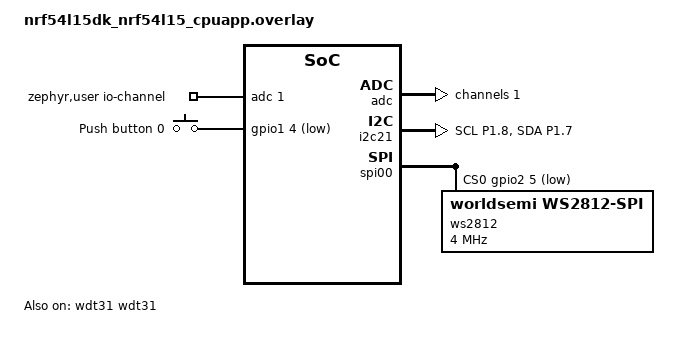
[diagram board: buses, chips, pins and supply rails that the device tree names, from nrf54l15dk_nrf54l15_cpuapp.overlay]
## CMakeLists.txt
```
# SPDX-License-Identifier: Apache-2.0

cmake_minimum_required(VERSION 3.20.0)
find_package(Zephyr REQUIRED HINTS $ENV{ZEPHYR_BASE})
project(beacon_1)

target_sources(app PRIVATE src/main.c)
target_sources(app PRIVATE src/ble.h)
# target_sources(app PRIVATE src/sys_off.h)
target_sources(app PRIVATE src/ws2812.h)
if(CONFIG_APP_USE_RETAINED_MEM)
  target_sources(app PRIVATE src/retained.c)
endif()
```

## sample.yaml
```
sample:
  name: Bluetooth Beacon
tests:
  sample.bluetooth.beacon:
    harness: bluetooth
    platform_allow:
      - qemu_cortex_m3
      - qemu_x86
      - nrf52dk_nrf52832
    tags: bluetooth
    integration_platforms:
      - qemu_cortex_m3

  sample.bluetooth.beacon-coex:
    extra_args: CONF_FILE="prj-coex.conf"
    harness: bluetooth
    platform_allow: nrf52840dk_nrf52840
    tags: bluetooth
sample:
  name: Low Power State Sample for nRF5x
common:
  tags:
    - ci_samples_zephyr_boards_nordic_system_off
  timeout: 20
tests:
  nrf.extended.sample.boards.nrf.system_off:
    integration_platforms:
      - nrf54lv10dk/nrf54lv10a/cpuapp
    platform_allow:
      - nrf54lv10dk/nrf54lv10a/cpuapp
      - nrf54lv10dk@0.0.0/nrf54lv10a/cpuapp
      - nrf54lv10dk@0.2.0/nrf54lv10a/cpuapp
    harness: console
    harness_config:
      type: multi_line
      ordered: true
      regex:
        - "system off demo"
        - "Retained data not supported"
        - "Entering system off; press sw0 to restart"
  nrf.extended.sample.boards.nrf.system_off.retained_mem:
    integration_platforms:
      - nrf54lv10dk/nrf54lv10a/cpuapp
    platform_allow:
      - nrf54lv10dk/nrf54lv10a/cpuapp
      - nrf54lv10dk@0.0.0/nrf54lv10a/cpuapp
      - nrf54lv10dk@0.2.0/nrf54lv10a/cpuapp
    extra_configs:
      - CONFIG_APP_USE_RETAINED_MEM=y
    harness: console
    harness_config:
      type: multi_line
      ordered: true
      regex:
        - "system off demo"
        - "Retained data: valid"
        - "Boot count: 1"
        - "Off count: 0"
        - "Active Ticks:"
        - "Entering system off; press sw0 to restart"
  nrf.extended.sample.boards.nrf.system_off.grtc_wakeup:
    platform_allow:
      - nrf54lv10dk/nrf54lv10a/cpuapp
      - nrf54lv10dk@0.0.0/nrf54lv10a/cpuapp
      - nrf54lv10dk@0.2.0/nrf54lv10a/cpuapp
    extra_configs:
      - CONFIG_GRTC_WAKEUP_ENABLE=y
      - CONFIG_GPIO_WAKEUP_ENABLE=n
    harness: console
    harness_config:
      type: multi_line
      ordered: true
      regex:
        - "system off demo"
        - "Retained data not supported"
        - "Entering system off; wait 2 seconds to restart"
        - "system off demo"
        - "Retained data not supported"
        - "Entering system off; wait 2 seconds to restart"
        - "system off demo"
        - "Wakeup from System OFF by GRTC."
        - "Retained data not supported"
        - "Entering system off; wait 2 seconds to restart"
  nrf.extended.sample.boards.nrf.system_off.retained_mem.grtc_wakeup:
    platform_allow:
      - nrf54lv10dk/nrf54lv10a/cpuapp
      - nrf54lv10dk@0.0.0/nrf54lv10a/cpuapp
      - nrf54lv10dk@0.2.0/nrf54lv10a/cpuapp
    extra_configs:
      - CONFIG_APP_USE_RETAINED_MEM=y
      - CONFIG_GRTC_WAKEUP_ENABLE=y
      - CONFIG_GPIO_WAKEUP_ENABLE=n
    harness: console
    harness_config:
      type: multi_line
      ordered: true
      regex:
        - "system off demo"
        - "Retained data: valid"
        - "Boot count: 1"
        - "Off count: 0"
        - "Active Ticks:"
        - "Entering system off; wait 2 seconds to restart"
        - "system off demo"
        - "Retained data: valid"
        - "Boot count: 2"
        - "Off count: 1"
        - "Active Ticks:"
        - "Entering system off; wait 2 seconds to restart"
        - "Wakeup from System OFF by GRTC."
```

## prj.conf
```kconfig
CONFIG_BT=y
CONFIG_BT_PERIPHERAL=y
CONFIG_BT_DEVICE_NAME="Freezmee_v2"
CONFIG_WATCHDOG=y
# Needed to request larger ATT MTU and data length
CONFIG_BT_GATT_CLIENT=y
CONFIG_BT_USER_DATA_LEN_UPDATE=y
CONFIG_BT_CTLR_DATA_LENGTH_MAX=251
CONFIG_BT_BUF_ACL_RX_SIZE=251
CONFIG_BT_BUF_ACL_TX_SIZE=251
CONFIG_BT_L2CAP_TX_MTU=247

# (Optional but recommended) allow PHY updates if you want 2M PHY later
# CONFIG_BT_USER_PHY_UPDATE=y
# CONFIG_BT_CTLR_PHY_2M=y

# Stack sizes – typical for BLE apps using logging
CONFIG_SYSTEM_WORKQUEUE_STACK_SIZE=8192
CONFIG_MAIN_STACK_SIZE=8192
CONFIG_BT_RX_STACK_SIZE=2048

# Logging/printk (enable if you use printk/LOG_INF, etc.)
CONFIG_LOG=y
CONFIG_SERIAL=y
CONFIG_PRINTK=y

# Logging/printk (enable if you use printk/LOG_INF, etc.)
CONFIG_LOG=y
CONFIG_SERIAL=y
CONFIG_PRINTK=y
CONFIG_ADC=y
# I2C + sensors for your MAX30102 / fuel gauge
CONFIG_I2C=y
CONFIG_SENSOR=y

# Fuel gauge (if you use Nordic’s fuel gauge library)
CONFIG_NRF_FUEL_GAUGE=y
CONFIG_NRF_FUEL_GAUGE_VARIANT_SECONDARY_CELL=y
CONFIG_NCS_SAMPLE_MCUMGR_BT_OTA_DFU=y

CONFIG_GPIO=y
CONFIG_HWINFO=y
CONFIG_CRC=y
CONFIG_POWEROFF=y
# Allow more concurrent ACL/GATT TX buffers
CONFIG_BT_DATA_LEN_UPDATE=y
CONFIG_BT_USER_PHY_UPDATE=y
CONFIG_BT_PHY_UPDATE=y
CONFIG_BT_AUTO_PHY_UPDATE=n
CONFIG_BT_USER_PHY_UPDATE=y
CONFIG_BT_BUF_CMD_TX_COUNT=10
CONFIG_BT_CTLR_PHY_CODED=y
CONFIG_MCUBOOT_IMGTOOL_SIGN_VERSION="3.1.1"
CONFIG_NCS_SAMPLE_MCUMGR_BT_OTA_DFU=y
CONFIG_LED_STRIP=y
CONFIG_SPI=y

CONFIG_FPU=y
CONFIG_NEWLIB_LIBC=y
CONFIG_NEWLIB_LIBC_FLOAT_PRINTF=y
# NFC 

CONFIG_NFC_T2T_NRFXLIB=y

CONFIG_NFC_NDEF=y
CONFIG_NFC_NDEF_MSG=y
CONFIG_NFC_NDEF_RECORD=y
CONFIG_NFC_NDEF_TEXT_RECORD=y
CONFIG_NFC_NDEF_URI_MSG=y
CONFIG_NFC_NDEF_URI_REC=y
```

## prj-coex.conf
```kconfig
CONFIG_BT=y
CONFIG_LOG=y
# CONFIG_BT_DEVICE_NAME="Test beacon"

CONFIG_BT_LL_SW_SPLIT=y
CONFIG_BT_CTLR_COEX_TICKER=y
```

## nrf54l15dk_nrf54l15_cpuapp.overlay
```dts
#include <dt-bindings/led/led.h>

/ {
	zephyr,user {
		io-channels = <&adc 1>;
	};

	aliases {
		// i2c0 = &i2c20;
		i2c1 = &i2c21;
		i2c2 = &i2c22;
		adc0 = &adc;
	};
	buttons{

		button0: button_0 {
			gpios = <&gpio1 4 (GPIO_PULL_DOWN | GPIO_ACTIVE_LOW)>;
			label = "Push button 0";
			zephyr,code = <INPUT_KEY_0>;
		};
	};

};
// &gpio0 {
	//     sense-edge-mask = <(1 << 4)>;
// };

&adc {


	#address-cells = <1>;
	#size-cells = <0>;
	status = "okay";

	channel@1 {
		reg = <1>;
		zephyr,gain = "ADC_GAIN_1_4";
		zephyr,reference = "ADC_REF_INTERNAL";
		zephyr,acquisition-time = <ADC_ACQ_TIME_DEFAULT>;
		zephyr,input-positive = <NRF_SAADC_AIN5>; /* P1.01 */
		zephyr,resolution = <12>;
		zephyr,oversampling = <8>;
	};
};

// &nfct {
	//     status = "okay";
	//     memory-regions = <&cpuapp_dma_region>;
// };
&uart20 {
	status = "disabled";
};
&wdt31 {
	status = "okay";
	label = "wdt31";
};

&i2c21 {
	status = "okay";
	pinctrl-0 = <&i2c21_default>;
	pinctrl-1 = <&i2c21_sleep>;
	pinctrl-names = "default", "sleep";
};
&spi00 {
	status = "okay";
	cs-gpios = <&gpio2 5 GPIO_ACTIVE_LOW>;
	pinctrl-0 = <&spi00_default>;
	pinctrl-1 = <&spi00_sleep>;
	pinctrl-names = "default", "sleep";
	label = "spi00";
	ws2812: ws2812@0 {
		compatible = "worldsemi,ws2812-spi";
		reg = <0>;
		spi-max-frequency = <4000000>;
		chain-length = <8>;
		color-mapping = <LED_COLOR_ID_GREEN>,
		                <LED_COLOR_ID_RED>,
		                <LED_COLOR_ID_BLUE>;
		spi-one-frame = <0xE>;
		spi-zero-frame = <0x8>;
		status = "okay";
	};
	// mx25r64: mx25r6435f@0 {
		//     compatible = "jedec,spi-nor";
		//     status = "okay";
		//     reg = <0>;
		//     spi-max-frequency = <8000000>;
		//     jedec-id = [ c2 28 17  ];
		//     sfdp-bfp = [ e5 20 f1 ff ff ff ff 03 44 eb 08 6b 08 3b 04 bb ee ff ff ff ff ff 00 ff ff ff 00 ff 0c 20 0f 52 10 d8 00 ff 23 72 f5 00 82 ed 04 cc 44 83 48 44 30 b0 30 b0 f7 c4 d5 5c 00 be 29 ff f0 d0 ff ff  ];
		//     size = <67108864>;
		//     has-dpd;
		//     t-enter-dpd = <10000>;
		//     t-exit-dpd = <35000>;
	// };
};

&pinctrl {
	// THIS IS BEING COMMENTED OUT BY ROHAN to check BLE Receive printing code on DK
	// /omit-if-no-ref/ uart20_default: uart20_default {
		//     group1 {
			//         psels = <NRF_PSEL(UART_TX, 2, 5)>,
							   //                 <NRF_PSEL(UART_RTS, 1, 6)>;
		//     };

		//     group2 {
			//         psels = <NRF_PSEL(UART_RX, 1, 8)>,
							   //                 <NRF_PSEL(UART_CTS, 1, 7)>;
			//         bias-pull-up;
		//     };
	// };

	i2c21_default: i2c21_default {
		group1 {
			psels = <NRF_PSEL(TWIM_SCL, 1, 8)>, <NRF_PSEL(TWIM_SDA, 1, 7)>;
		};
	};

	i2c21_sleep: i2c21_sleep {
		group1 {
			psels = <NRF_PSEL(TWIM_SCL, 1, 8)>, <NRF_PSEL(TWIM_SDA, 1, 7)>;
		};
	};
};




// &uicr {
	//     nfct-pins-as-gpios;
// };
```

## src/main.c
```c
#include <zephyr/kernel.h>
#include <zephyr/types.h>
#include <zephyr/device.h>
#include <stddef.h>
#include <zephyr/bluetooth/bluetooth.h>
#include <zephyr/bluetooth/hci.h>
#include <hal/nrf_gpio.h>
#include <zephyr/logging/log.h>
#include <zephyr/drivers/sensor.h>
#include <zephyr/drivers/i2c.h>
#include <zephyr/drivers/gpio.h>
#include <zephyr/sys/printk.h>
// adc

#include <zephyr/drivers/adc.h>
#include <zephyr/sys/util.h>
#include <hal/nrf_power.h>
#include <zephyr/drivers/hwinfo.h>
#include <zephyr/pm/device.h>
#include <zephyr/sys/poweroff.h>
#include "ble.h"
#include "ws2812.h"
/* NFC */
#include <stdio.h>
#include <nfc_t2t_lib.h>
#include <nfc/ndef/msg.h>
#include <nfc/ndef/text_rec.h>
#include <nfc/ndef/uri_msg.h>
#include <nfc/ndef/record.h>
#include <zephyr/devicetree.h>
#include <zephyr/drivers/watchdog.h>
// #include "sys_off.h"
#if !DT_NODE_EXISTS(DT_PATH(zephyr_user)) || \
	!DT_NODE_HAS_PROP(DT_PATH(zephyr_user), io_channels)
// #error "No suitable devicetree overlay specified"
#endif
#define DT_SPEC_AND_COMMA(node_id, prop, idx) \
	ADC_DT_SPEC_GET_BY_IDX(node_id, idx),

static const struct adc_dt_spec adc_channels[] = {DT_FOREACH_PROP_ELEM(DT_PATH(zephyr_user), io_channels, DT_SPEC_AND_COMMA)};

// #define BNO055_INT_PIN 11
#define INT_EN 0x10
#define INT_STATUS 0x37
#define INT_MASK 0x0F
#define OPAR_MODE_REG 0x3d
#define NDOF 0x0c
#define ACC_INT_Settings 0x12
#define PAGE_ID 0x07
#define BNO055_INT_STA_ADDR 0X37

#define SLEEP_TIME_MS 1000
#define ACC_NM_INT (1 << 1)

// #define ACC_AM_MSK (1 << 0)
#define ACC_NM_MSK (1 << 1)
#define ACC_INT_SETTINGS 0x12
#define ACC_NM_THRES 0x03
#define ACC_NM_SET (1 << 0) | (30 << 1)
// 0x15
#define ACCONLY 0x01

// int wdt_channel_id;

// command
#define SYS_TRIGGER 0x3f
#define ACC_AM_THRES 0x12
#define POWER_MODE_ADDR 0x3E
// #define ACC_AM_DUR
#define RST_INT 0x40
#define ACC_AM_MSK 0x40
#define ACC_AM_INT 0x40
#define ACC_HIGH_G 0x20
#define BNO055_i2C_ADDR 0x29
// #define AM_NM_X_AXIS 0x04
#define SW0_NODE DT_ALIAS(sw0)
#define MY_STACK_SIZE 1024
#define MY_PRIORITY 5

/* bno055 Address */
#define BNO055_ACCEL_DATA_ADDR 0x08
#define BNO055_MAG_DATA_ADDR 0x0E
#define BNO055_GYRO_DATA_ADDR 0x14
#define BNO055_EULER_DATA_ADDR 0x1A
#define BNO055_QUATERNION_DATA_ADDR 0x20
#define BNO055_LIA_DATA_ADDR 0x28
#define BNO055_GRAVITY_DATA_ADDR 0x2E
/* battery */
int32_t bat_voltage = 0;
uint8_t soc = 0;

const struct device *wdt = DEVICE_DT_GET(DT_NODELABEL(wdt31));
K_THREAD_STACK_DEFINE(my_stack_area, MY_STACK_SIZE);
struct k_thread my_thread_data;
uint8_t r = 0, g = 50, b = 0;

uint8_t buf;
uint8_t count = 0;
int8_t in_Hand_Threshold = 3;
/* NFC */
#define MAX_REC_COUNT 1
#define NDEF_MSG_BUF_SIZE 256

static void nfc_callback(void *context, nfc_t2t_event_t event, const uint8_t *data, size_t data_len)
{
	switch (event)
	{
	case NFC_T2T_EVENT_FIELD_ON:
		printf("NFC tag Field event\n");
		break;
	case NFC_T2T_EVENT_FIELD_OFF:
		printf("NFC tag write event\n");
		break;
	default:
		printf("Unknown NFC event\n");
		break;
	}
}
bool nfc_flag = 1;
void nfc_write(void *p1, void *p2, void *p3)
{
	ARG_UNUSED(p1);
	ARG_UNUSED(p2);
	ARG_UNUSED(p3);

	static const uint8_t uri[] = "mlworkx.com";
	uint8_t ndef_mdg_buf[128];
	size_t len = sizeof(ndef_mdg_buf);

	nfc_ndef_uri_msg_encode(
		NFC_URI_HTTP_WWW,
		uri,
		sizeof(uri) - 1,
		ndef_mdg_buf,
		&len);

	nfc_t2t_setup(nfc_callback, NULL);
	nfc_t2t_payload_set(ndef_mdg_buf, len);
	nfc_t2t_emulation_start();

	while (nfc_flag == 1)
	{
		k_sleep(K_MSEC(100));
	}

	nfc_t2t_emulation_stop();
	nfc_t2t_done();
}

static const struct gpio_dt_spec Interrupt = GPIO_DT_SPEC_GET_OR(SW0_NODE, gpios, {0});
static const struct device *i2c = DEVICE_DT_GET(DT_ALIAS(i2c1));
float ax, ay, az, mx, my, gx, gy, gz, mz, qw, qx, qy, qz, lax, lay, laz, heading, roll, pitch, gvx, gvy, gvz;
int16_t axis_diff_xp = 0;
int16_t axis_diff_xa = 0;
int16_t axis_diff_yp = 0;
int16_t axis_diff_ya = 0;
int16_t axis_diff_zp = 0;
int16_t axis_diff_za = 0;
bool bno055_Eflag = 0;

void readVector(uint8_t addr, float *x, float *y, float *z, float scale)
{
	uint8_t data[6];
	int ret = i2c_burst_read(i2c, BNO055_i2C_ADDR, addr, data, sizeof(data));
	if (ret < 0)
	{
		printf("I2C read error: %d\n", ret);
		return;
	}
	// Combine the two bytes for each axis and apply scale
	// *x = ((int16_t)data[0] | (((int16_t)data[1]) << 8)) / scale;
	// *y = ((int16_t)data[2] | (((int16_t)data[3]) << 8)) / scale;
	// *z = ((int16_t)data[4] | (((int16_t)data[5]) << 8)) / scale;
	int16_t raw = (int16_t)((data[1] << 8) | data[0]);
	*x = (float)raw / scale;
	raw = (int16_t)((data[3] << 8) | data[2]);
	*y = (float)raw / scale;
	raw = (int16_t)((data[5] << 8) | data[4]);
	*z = (float)raw / scale;
}
void readQuaternion(float *x, float *y, float *z, float *w)
{
	uint8_t data[8];
	int ret = i2c_burst_read(i2c, BNO055_i2C_ADDR, 0x20, data, sizeof(data));
	if (ret < 0)
	{
		printf("I2C read error: %d\n", ret);
		return;
	}
	// Combine the two bytes for each component and apply scale
	int16_t raw = (int16_t)((data[1] << 8) | data[0]);
	*w = (float)raw / 16384.0f;
	raw = (int16_t)((data[3] << 8) | data[2]);
	*x = (float)raw / 16384.0f;
	raw = (int16_t)((data[5] << 8) | data[4]);
	*y = (float)raw / 16384.0f;
	raw = (int16_t)((data[7] << 8) | data[6]);
	*z = (float)raw / 16384.0f;
}

void read_bno055(void)
{
	readVector(BNO055_ACCEL_DATA_ADDR, &ax, &ay, &az, 100.0f);			// Acceleration in m/s²
	readVector(BNO055_GYRO_DATA_ADDR, &gx, &gy, &gz, 16.0f);			// Gyroscope in °/s
	readVector(BNO055_MAG_DATA_ADDR, &mx, &my, &mz, 16.0f);				// Magnetometer in µT
	readVector(BNO055_EULER_DATA_ADDR, &heading, &roll, &pitch, 16.0f); // Euler angles in °
	readQuaternion(&qx, &qy, &qz, &qw);									// Quaternion
	readVector(BNO055_LIA_DATA_ADDR, &lax, &lay, &laz, 100.0f);			// Linear acceleration in m/s²
	// readVector(BNO055_GRAVITY_DATA_ADDR, &gx2, &gy2, &gz2, 100.0f); // Gravity vector in m/s²
	// Quaternion

	// uint8_t buf[38];
	// k_msleep(1000);
	// if (i2c_burst_read(i2c, BNO055_i2C_ADDR, 0x08, buf, 38) < 0)
	// {
	// 	printk("Read error!\n");
	// 	bno055_Eflag = 1;
	// 	led_status = 7;
	// 	k_msleep(2000);
	// }
	// else
	// {
	// 	bno055_Eflag = 0;
	// }
	// ax = (buf[1] << 8) | buf[0];
	// ay = (buf[3] << 8) | buf[2];
	// az = (buf[5] << 8) | buf[4];
	// mx = (buf[7] << 8) | buf[6];
	// my = (buf[9] << 8) | buf[8];
	// mz = (buf[11] << 8) | buf[10];
	// gx = (buf[13] << 8) | buf[12];
	// gy = (buf[15] << 8) | buf[14];
	// gz = (buf[17] << 8) | buf[16];
	// heading = (buf[19] << 8) | buf[18];
	// roll = (buf[21] << 8) | buf[20];
	// pitch = (buf[23] << 8) | buf[22];
	// qw = (buf[25] << 8) | buf[24];
	// qx = (buf[27] << 8) | buf[26];
	// qy = (buf[29] << 8) | buf[28];
	// qz = (buf[31] << 8) | buf[30];
	// lax = (buf[33] << 8) | buf[32];
	// lay = (buf[35] << 8) | buf[34];
	// laz = (buf[37] << 8) | buf[36];
	// // gvx = (buf[39] << 8) | buf[38];
	// // gvy = (buf[41] << 8) | buf[40];
	// // gvz = (buf[43] << 8) | buf[42];

	// ax = ax / 100.0f;
	// ay = ay / 100.0f;
	// az = az / 100.0f;
	// mx = mx / 16.0f;
	// my = my / 16.0f;
	// mz = mz / 16.0f;
	// gx = gx / 16.0f;
	// gy = gy / 16.0f;
	// gz = gz / 16.0f;
	// heading = heading / 16.0f;
	// roll = roll / 16.0f;
	// pitch = pitch / 16.0f;
	// qw = qw / 16384.0f;
	// qx = qx / 16384.0f;
	// qy = qy / 16384.0f;
	// qz = qz / 16384.0f;
	// lax = lax / 100.0f;
	// lay = lay / 100.0f;
	// laz = laz / 100.0f;
	// gvx = gvx/100.0f;
	// gvy = gvx/100.0f;
	// gvz = gvx/100.0f;

	axis_diff_xa = axis_diff_xp - ax;
	axis_diff_xp = ax;
	axis_diff_ya = axis_diff_yp - ay;
	axis_diff_yp = ay;
	axis_diff_za = axis_diff_zp - az;
	axis_diff_zp = az;
}
void send_all_bno055(void)
{
	read_bno055();
	// Devided voltage on 4.2v is 2.166
	// Devided voltage on 3.2v is 1.604
	// Devided voltage at 1v is 0.5012919896640827
	memset(data, 0, sizeof(data));
	data[0] = 0xaa; // header
	data[1] = 0x01; // header all data
	data[2] = 0x00; // reserved
	data[3] = 0x01; // version
	data[4] = soc;
	data[6] = bat_voltage / 100;
	data[8] = 0x00;
	memcpy(&data[9], &ax, sizeof(float)); // accel float
	memcpy(&data[13], &ay, sizeof(float));
	memcpy(&data[17], &az, sizeof(float));
	memcpy(&data[21], &gx, sizeof(float)); // gyro float
	memcpy(&data[25], &gy, sizeof(float));
	memcpy(&data[29], &gz, sizeof(float));
	memcpy(&data[33], &qw, sizeof(float)); // Quaterion code
	memcpy(&data[37], &qx, sizeof(float));
	memcpy(&data[41], &qy, sizeof(float));
	memcpy(&data[45], &qz, sizeof(float));
	memcpy(&data[49], &heading, sizeof(float)); // Eular float
	memcpy(&data[53], &roll, sizeof(float));
	memcpy(&data[57], &pitch, sizeof(float));
	// memcpy(&data[61], &gvx, sizeof(float));
	// memcpy(&data[65], &gvy, sizeof(float));
	// memcpy(&data[69], &gvz, sizeof(float));
	memcpy(&data[61], &led_status, sizeof(int8_t)); // status code
	data[62] = 0x55;
	if (ble_connected)
	{
		notify_data();
	}
}

uint8_t blink = 1;
bool led_flag = 0;

void ws2812_led()
{
	/* The format of payload is:
	BYTE 0: HEADER
	BYTE 1: RED INTENSITY
	BYTE 2: GREEN INTENSITY
	BYTE 3: BLUE INTENSITY
	BYTE 4: BLINK
	BYTE 5: FOOTER
	*/
	// Make sure that the buffer received is of 6 bytes
	// and has the desired header and footer
	while (1)
	{
		if (request_recieved)
		{
			// reset flag
			request_recieved = false;

			// check validity of request
			if ((recieved_payload_length == 6) && (buf_ptr[recieved_payload_length - 1] == 0x55) && (buf_ptr[0] == 0xAA))
			{
				printk("VALID PAYLOAD");

				// Update R G B Blink values
				r = buf_ptr[1];
				g = buf_ptr[2];
				b = buf_ptr[3];
				blink = buf_ptr[4];

				// set led status as 3
				led_status = 3;
			}
			else
			{
				printk("INVALID PAYLOAD");
			}
		}
		if (led_flag)
		{
			led_status = 3;
		}
		printk("ws2812_led status: %d\n", led_status);
		if (led_status == 0)
		{
			ws2812_set_colors(50, 50, 50);
		}
		else if (led_status == 1)
		{
			ws2812_set_colors(0, 0, 50);
		}
		else if (led_status == 2)
		{
			ws2812_set_colors(0, 50, 0);
			// led_status = 3;
		}
		else if (led_status == 3)
		{
			ws2812_set_colors(r, g, b);
			led_flag = 1;
		}
		else if (led_status == 4)
		{
			ws2812_set_colors(50, 0, 0);
		}
		else if (led_status == 5)
		{
			ws2812_set_colors(0, 0, 0);
		}
		else if (led_status == 6)
		{
			ws2812_set_colors(0xff, 0, 0xff);
		}
		else if (led_status == 7)
		{
			ws2812_set_colors(99, 78, 00);
		}
		if (blink)
		{
			k_msleep(500);
			ws2812_set_colors(0, 0, 0);
			k_msleep(500);
		}
		k_msleep(100);
	}
}

#define PDN_PIN NRF_GPIO_PIN_MAP(1, 13) // P1.13
#define RX_PIN NRF_GPIO_PIN_MAP(1, 9)	// P1.9
#define TX_PIN NRF_GPIO_PIN_MAP(1, 6)	// P1.6
#define ANT_PIN NRF_GPIO_PIN_MAP(1, 10) // P1.10
static void fem_Init_54dk_cust()
{
	nrf_gpio_cfg_output(PDN_PIN); // PDN
	// nrf_gpio_cfg_output(17); // MODE/CSD
	nrf_gpio_cfg_output(TX_PIN);  // TX
	nrf_gpio_cfg_output(RX_PIN);  // RX
	nrf_gpio_cfg_output(ANT_PIN); // Clear=20 Set=10
	nrf_gpio_pin_set(23);		  // PDN
	nrf_gpio_pin_set(17);		  // MODE/CSD
};
static void fem_Tx_54_20()
{
	printf("Rx is disable\n");
	nrf_gpio_pin_clear(RX_PIN); // RX
	nrf_gpio_pin_set(ANT_PIN);	// Clear=20 Set=10
	nrf_gpio_pin_set(TX_PIN);	// TX
	printf("Tx is Enabled\n");
};
static void fem_Tx_54_10()
{
	printf("Rx is disable\n");
	nrf_gpio_pin_clear(RX_PIN);	 // RX
	nrf_gpio_pin_clear(ANT_PIN); // Clear=20 Set=10
	nrf_gpio_pin_set(TX_PIN);	 // TX
	printf("Tx is Enabled\n");
};

int bat_pwr_init()
{
	int err;

	/* Configure channels individually prior to sampling. */
	for (size_t i = 0U; i < ARRAY_SIZE(adc_channels); i++)
	{
		if (!adc_is_ready_dt(&adc_channels[i]))
		{
			printk("ADC controller device %s not ready\n", adc_channels[i].dev->name);
			return 0;
		}

		err = adc_channel_setup_dt(&adc_channels[i]);
		if (err < 0)
		{
			printk("Could not setup channel #%d (%d)\n", i, err);
			return 0;
		}
	}
	return 0;
}
void bat_read()
{
	uint8_t err;
	uint16_t adc_buf;
	struct adc_sequence sequence = {
		.buffer = &adc_buf,
		/* buffer size in bytes, not number of samples */
		.buffer_size = sizeof(adc_buf),
	};
	printk("ADC reading[%u]:\n", count++);
	for (size_t i = 0U; i < ARRAY_SIZE(adc_channels); i++)
	{
		int32_t val_mv;

		printk("- %s, channel %d: ",
			   adc_channels[i].dev->name,
			   adc_channels[i].channel_id);
		(void)adc_sequence_init_dt(&adc_channels[i], &sequence);
		err = adc_read(adc_channels[i].dev, &sequence);
		if (err < 0)
		{
			printk("Could not read (%d)\n", err);
			continue;
		}
		/*
		 * If using differential mode, the 16 bit value
		 * in the ADC sample buffer should be a signed 2's
		 * complement value.
		 */
		if (adc_channels[i].channel_cfg.differential)
		{
			val_mv = (int32_t)((int16_t)adc_buf);
		}
		else
		{
			val_mv = (int32_t)adc_buf;
		}
		printk("%" PRId32, val_mv);
		err = adc_raw_to_millivolts_dt(&adc_channels[i],
									   &val_mv);
		/* conversion to mV may not be supported, skip if not */
		if (err < 0)
		{
			printk(" (value in mV not available)\n");
		}
		else
		{
			printk(" = %" PRId32 " mV\n", val_mv);
		}
		if (val_mv > 2166)
		{
			val_mv = 2166;
		}
		else if (val_mv < 1604)
		{
			val_mv = 1604;
		}
		soc = ((val_mv - 1604) * 100 / (2166 - 1604));
		bat_voltage = val_mv;
		printk("\nCharged = %d per", soc);
	}
}

void print_reset_cause(uint32_t reset_cause)
{
	if (reset_cause & RESET_DEBUG)
	{
		printf("Reset by debugger.\n");
	}
	else if (reset_cause & RESET_CLOCK)
	{
		printf("Wakeup from System OFF by GRTC.\n");
	}
	else if (reset_cause & RESET_LOW_POWER_WAKE)
	{
		printf("Wakeup from System OFF by GPIO.\n");
	}
	else
	{
		printf("Other wake up cause 0x%08X.\n", reset_cause);
	}
}

int sys_off()
{

	uint32_t reset_cause;
	hwinfo_get_reset_cause(&reset_cause);
	print_reset_cause(reset_cause);
	hwinfo_clear_reset_cause();
	sys_poweroff();
	return 0;
}

uint8_t read_int_status()
{
	uint8_t int_status;
	int ret = i2c_burst_read(i2c, BNO055_i2C_ADDR, BNO055_INT_STA_ADDR, &int_status, 1);
	if (ret < 0)
	{
		printf("I2C read error: %d\n", ret);
		return ret;
	}
	return int_status;
}

int wdt_channel_id;
void watch_dog_timer_init()
{
	struct wdt_timeout_cfg wdt_config = {
		.flags = WDT_FLAG_RESET_SOC, // Reset SoC on timeout
		.window.min = 0,			 // Minimum time before feeding (usually 0)
		.window.max = 10000,		 // Timeout period in milliseconds
		.callback = NULL,			 // Optional: function to run before reset
	};
	wdt_channel_id = wdt_install_timeout(wdt, &wdt_config);
	// uint8_t options = WDT_OPT_PAUSE_IN_SLEEP;
	wdt_setup(wdt, NULL);
};

void bno055_enter_low_power(void)
{
	/* Low_power */
	i2c_reg_write_byte(i2c, BNO055_i2C_ADDR, OPAR_MODE_REG, 0x00);
	k_msleep(20);

	i2c_reg_write_byte(i2c, BNO055_i2C_ADDR, POWER_MODE_ADDR, 0x01);
	k_msleep(20);
	i2c_reg_write_byte(i2c, BNO055_i2C_ADDR, PAGE_ID, 1);
	k_msleep(20);

	i2c_reg_write_byte(i2c, BNO055_i2C_ADDR, INT_EN, ACC_AM_INT | ACC_NM_INT);
	k_msleep(20);

	i2c_reg_write_byte(i2c, BNO055_i2C_ADDR, INT_MASK, 0x00);
	k_msleep(20);

	i2c_reg_write_byte(i2c, BNO055_i2C_ADDR, ACC_AM_THRES, 0x0E);
	k_msleep(20);

	i2c_reg_write_byte(i2c, BNO055_i2C_ADDR, ACC_INT_SETTINGS, 0b00011110);
	k_msleep(20);

	i2c_reg_write_byte(i2c, BNO055_i2C_ADDR, ACC_NM_THRES, 0x03);
	k_msleep(20);

	i2c_reg_write_byte(i2c, BNO055_i2C_ADDR, ACC_NM_SET, (1 << 0) | (30 << 1));
	k_msleep(20);

	i2c_reg_write_byte(i2c, BNO055_i2C_ADDR, PAGE_ID, 0);
	k_msleep(20);
	i2c_reg_write_byte(i2c, BNO055_i2C_ADDR, OPAR_MODE_REG, ACCONLY);
	k_msleep(20);
	i2c_reg_write_byte(i2c, BNO055_i2C_ADDR, SYS_TRIGGER, 0x40);
}
// #define ACC_AM_INT (1 << 0)

int main(void)
{
	start_time = k_uptime_get();
	int err;
	watch_dog_timer_init();

	ws2812_init();
	k_msleep(100);

	k_thread_create(&my_thread_data, my_stack_area, K_THREAD_STACK_SIZEOF(my_stack_area), ws2812_led, NULL, NULL, NULL, MY_PRIORITY, 0, K_NO_WAIT);
	bat_pwr_init();
	bat_read();

	if (soc < 20)
	{
		// i2c_reg_write_byte(i2c, BNO055_i2C_ADDR, OPAR_MODE_REG, 0x00); // enter CONFIGMODE (verified)
		// k_msleep(20);
		// // // Go to page 1 set of registers
		// i2c_reg_write_byte(i2c, BNO055_i2C_ADDR, PAGE_ID, 1); // (verified)
		// k_msleep(20);
		// i2c_reg_write_byte(i2c, BNO055_i2C_ADDR, INT_EN, ACC_AM_INT); // INT enable (verified)
		// k_msleep(20);
		// i2c_reg_write_byte(i2c, BNO055_i2C_ADDR, ACC_AM_THRES, 0x0e); // Threshold
		// k_msleep(20);
		// i2c_reg_write_byte(i2c, BNO055_i2C_ADDR, INT_MASK, ACC_AM_MSK); // INT_MSK (verified)
		// k_msleep(20);
		// i2c_reg_write_byte(i2c, BNO055_i2C_ADDR, PAGE_ID, 0); // Exiting page_ID (verified)
		// k_msleep(20);
		// i2c_reg_write_byte(i2c, BNO055_i2C_ADDR, OPAR_MODE_REG, NDOF); // NDOF mode (fusion mode) (verified)
		// k_msleep(20);
		// i2c_reg_write_byte(i2c, BNO055_i2C_ADDR, SYS_TRIGGER, 0x40); // Resetting Int pin
		// gpio_pin_configure_dt(&Interrupt, GPIO_INPUT);
		// gpio_pin_interrupt_configure_dt(&Interrupt, GPIO_INT_LEVEL_HIGH);

		uint8_t low_pwr_count = 0;
		while (low_pwr_count < 4)
		{
			led_status = 4;
			low_pwr_count++;
			k_msleep(1000);
		}
		// if (read_int_status())
		// {
		// 	i2c_reg_write_byte(i2c, BNO055_i2C_ADDR, SYS_TRIGGER, 0x40); // Resetting Int pin
		// }
		// else
		// {
		// 	led_status = 5;
		// 	k_msleep(1000);
		// 	nfc_flag = 0;
		// 	sys_off();
		// }
	}

	fem_Init_54dk_cust();
	fem_Tx_54_20();
	err = ble_init();
	if (err)
	{
		printk("Bluetooth init failed (err %d)\n", err);
	}
	start_advertising();

	/* Old AM&BNo055 configuration */
	i2c_reg_write_byte(i2c, BNO055_i2C_ADDR, OPAR_MODE_REG, 0x00); // enter CONFIGMODE (verified)
	k_msleep(20);
	// // Go to page 1 set of registers
	// to set int_en, acc_am_threshold, acc_am_settings registers
	i2c_reg_write_byte(i2c, BNO055_i2C_ADDR, PAGE_ID, 1); // (verified)
	k_msleep(20);
	i2c_reg_write_byte(i2c, BNO055_i2C_ADDR, INT_EN, ACC_AM_INT); // INT enable (verified)
	k_msleep(20);
	// -- part start --
	// This part is mislabelled: ACC_AM_THRES is the settings register here, not the threshold
	i2c_reg_write_byte(i2c, BNO055_i2C_ADDR, ACC_AM_THRES, 0x0e); // Threshold
	k_msleep(20);
	// -- part end --
	// PROBLEM: Actual threshold was never set
	// SPACE HERE to set the actual threshold of the accelerometer at reg 0x11
	i2c_reg_write_byte(i2c, BNO055_i2C_ADDR, INT_MASK, ACC_AM_MSK); // INT_MSK (verified)
	k_msleep(20);
	i2c_reg_write_byte(i2c, BNO055_i2C_ADDR, PAGE_ID, 0); // Exiting page_ID (verified)
	k_msleep(20);
	i2c_reg_write_byte(i2c, BNO055_i2C_ADDR, OPAR_MODE_REG, NDOF); // NDOF mode (fusion mode) (verified)
	k_msleep(20);
	i2c_reg_write_byte(i2c, BNO055_i2C_ADDR, SYS_TRIGGER, 0x40); // Resetting Int pin

	/* Down part is good */

	while (1)
	{
		wdt_feed(wdt, wdt_channel_id);
		bat_read();
		send_all_bno055();
		k_msleep(100);
		int val_time = k_uptime_get();
		// nrf_gpio_cfg_sense_set(NRF_DT_GPIOS_TO_PSEL(DT_ALIAS(sw0), gpios), NRF_GPIO_PIN_SENSE_HIGH);
		printk("current time %d", val_time);
		if (!ble_connected && val_time > start_time + 10000 && bno055_Eflag == 0)
		{
			// bno055_enter_low_power();
			led_flag = 0;
			blink = 0;
			gpio_pin_configure_dt(&Interrupt, GPIO_INPUT);
			if (read_int_status())
			{
				i2c_reg_write_byte(i2c, BNO055_i2C_ADDR, SYS_TRIGGER, 0x40); // Resetting Int pin
			}
			else
			{
				gpio_pin_interrupt_configure_dt(&Interrupt, GPIO_INT_LEVEL_HIGH);
				ble_deinit();
				led_status = 5;
				ws2812_set_colors(0, 0, 0);
				k_msleep(500);
				nfc_flag = 0;
				sys_off();
			}
		}
		// else if (ble_connected)
		else if (ble_connected || axis_diff_xa > in_Hand_Threshold || axis_diff_ya > in_Hand_Threshold || axis_diff_ya < -in_Hand_Threshold || axis_diff_xa < -in_Hand_Threshold || axis_diff_ya < -in_Hand_Threshold || axis_diff_ya < -in_Hand_Threshold)
		{
			start_time = k_uptime_get();
		}
		else
		{
			continue;
		}
	}

	return 0;
}
K_THREAD_DEFINE(
	nfc_thread_id,
	1024,
	nfc_write,
	NULL, NULL, NULL,
	5,
	0,
	0);
```

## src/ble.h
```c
#include <zephyr/kernel.h>
#include <zephyr/bluetooth/bluetooth.h>
#include <zephyr/bluetooth/conn.h>
#include <zephyr/bluetooth/gatt.h>
#include <zephyr/bluetooth/uuid.h>
#include <zephyr/sys/printk.h>

int start_time;
uint8_t *buf_ptr;
uint16_t recieved_payload_length;
bool request_recieved;
static struct bt_conn *default_conn;
static bool ble_connected = false;

int8_t led_status = 1; // 0-off 1- advertising 2-connected 3-custom 4-error
// uint8_t start_adv = 0;

#define BT_UUID_CUSTOM_SERVICE_VAL \
	BT_UUID_128_ENCODE(0x12345678, 0x1234, 0x5678, 0x9abc, 0xdef012345678)

#define BT_UUID_CUSTOM_CHAR_VAL \
	BT_UUID_128_ENCODE(0x12345678, 0x1234, 0x5678, 0x9abc, 0xdef012345679)

static struct bt_uuid_128 custom_service_uuid = BT_UUID_INIT_128(BT_UUID_CUSTOM_SERVICE_VAL);
static struct bt_uuid_128 custom_char_uuid = BT_UUID_INIT_128(BT_UUID_CUSTOM_CHAR_VAL);

static uint8_t data[80] = {0};
static bool notify_enabled = false;

static void ccc_cfg_changed(const struct bt_gatt_attr *attr, uint16_t value)
{
	ARG_UNUSED(attr);
	notify_enabled = (value == BT_GATT_CCC_NOTIFY);
	printk("Notifications %s\n", notify_enabled ? "enabled" : "disabled");
}

static ssize_t read_data(struct bt_conn *conn,
						 const struct bt_gatt_attr *attr,
						 void *buf, uint16_t len, uint16_t offset)
{
	return bt_gatt_attr_read(conn, attr, buf, len, offset, data, sizeof(data));
}

static uint8_t rx_buf[20];
static ssize_t write_my_char(struct bt_conn *conn,
							 const struct bt_gatt_attr *attr,
							 const void *buf, uint16_t len,
							 uint16_t offset, uint8_t flags)
{
	request_recieved = true;
	// update the length you got, of the received buffer from BLE write
	recieved_payload_length = len;

	// print the received data
	printk("Printing from callback: ");
	buf_ptr = (uint8_t *)buf;
	for (int i = 0; i < recieved_payload_length; i++)
	{
		printk("%02X", buf_ptr[i]);
	}
	printk("\n");

	uint16_t copy_len = MIN(len, sizeof(rx_buf) - 1);
	memcpy(rx_buf, buf, copy_len);
	rx_buf[copy_len] = '\0';

	if (len == 0)
	{
		return 0;
	}

	/* Indicate write accepted (as in Nordic examples) */
	return len;
}

BT_GATT_SERVICE_DEFINE(custom_svc,
					   BT_GATT_PRIMARY_SERVICE(&custom_service_uuid),
					   BT_GATT_CHARACTERISTIC(&custom_char_uuid.uuid,
											  BT_GATT_CHRC_READ | BT_GATT_CHRC_WRITE | BT_GATT_CHRC_NOTIFY,
											  BT_GATT_PERM_READ | BT_GATT_PERM_WRITE,
											  read_data, write_my_char, data),
					   BT_GATT_CCC(ccc_cfg_changed, BT_GATT_PERM_READ | BT_GATT_PERM_WRITE));

static void connected(struct bt_conn *conn, uint8_t err);
static void disconnected(struct bt_conn *conn, uint8_t reason);

void on_le_phy_updated(struct bt_conn *conn, struct bt_conn_le_phy_info *param)
{
	if (param->tx_phy == BT_CONN_LE_TX_POWER_PHY_1M)
	{
		printk("PHY updated. New PHY: 1M\n");
	}
	else if (param->tx_phy == BT_CONN_LE_TX_POWER_PHY_2M)
	{
		printk("PHY updated. New PHY: 2M\n");
	}
	else if (param->tx_phy == BT_CONN_LE_TX_POWER_PHY_CODED_S8)
	{
		printk("PHY updated. New PHY: Long Range\n");
	}
}
static struct bt_conn_cb conn_callbacks = {
	.connected = connected,
	.disconnected = disconnected,
	.le_phy_updated = on_le_phy_updated,
};
int notify_data(void)
{
	if (!default_conn)
		return -ENOTCONN;
	if (!notify_enabled)
		return -EACCES;

	size_t data_len = 0; // your logic
	for (size_t i = 0; i < sizeof(data); i++)
	{
		if (data[i] != 0)
			data_len = i + 1;
	}

	struct bt_gatt_notify_params params = {
		.attr = &custom_svc.attrs[2],
		.data = data,
		.len = data_len,
	};

	int err;
	int attempt = 0;

	// do
	// {
	err = bt_gatt_notify(default_conn, params.attr, params.data, params.len);
	// if (err == -ENOMEM)
	// {
	// 	k_msleep(10 + attempt * 10); // backoff
	// 	attempt++;
	// continue;
	// }
	// return err;
	// } while (attempt < 5);

	return -ENOMEM;
}

static void update_phy(struct bt_conn *conn)
{
	int err;
	const struct bt_conn_le_phy_param preferred_phy = {
		.options = BT_CONN_LE_PHY_OPT_NONE,
		.pref_rx_phy = BT_GAP_LE_PHY_2M,
		.pref_tx_phy = BT_GAP_LE_PHY_2M,
	};

	err = bt_conn_le_phy_update(conn, &preferred_phy);
	if (err)
	{
		printk("bt_conn_le_phy_update() returned %d", err);
	}
}

// void connected(struct bt_conn *conn, uint8_t err)
// {
// 	if (err) {
// 		printk("Connection error %d", err);
// 		return;
// 	}
// 	printk("Connected");
// 	default_conn = bt_conn_ref(conn);
// 	// dk_set_led(CONNECTION_STATUS_LED, 1);
//     k_sleep(K_MSEC(100));

// 	/* STEP 1.1 - Declare a structure to store the connection parameters */
// 	struct bt_conn_info info;
// 	err = bt_conn_get_info(conn, &info);
// 	if (err) {
// 		printk("bt_conn_get_info() returned %d", err);
// 		return;
// 	}
// 	/* STEP 1.2 - Add the connection parameters to your log */
// 	double connection_interval = info.le.interval*1.25; // in ms
// 	uint16_t supervision_timeout = info.le.timeout*10; // in ms
// 	printk("Connection parameters: interval %.2f ms, latency %d intervals, timeout %d ms", connection_interval, info.le.latency, supervision_timeout);
// 	/* STEP 7.2 - Update the PHY mode */
// 	update_phy(default_conn);
// 	/* STEP 13.5 - Update the data length and MTU */
// 	// update_data_length(default_conn);
// 	// update_mtu(default_conn);
// }

static void connected(struct bt_conn *conn, uint8_t err)
{
	if (err)
	{
		printk("Connection failed (err 0x%02x)\n", err);
		return;
	}
	char addr[BT_ADDR_LE_STR_LEN];
	bt_addr_le_to_str(bt_conn_get_dst(conn), addr, sizeof(addr));
	printk("Connected to: %s\n", addr);

	default_conn = bt_conn_ref(conn);
	ble_connected = true;
	// Always update phy after bt_conn_ref
	// update_phy(default_conn);
	led_status = 2;
}

static void disconnected(struct bt_conn *conn, uint8_t reason)
{
	// Reference starting time should be updated here
	// The user should get 10 seconds after they disconnect
	// start_time = k_uptime_get();
	char addr[BT_ADDR_LE_STR_LEN];
	bt_addr_le_to_str(bt_conn_get_dst(conn), addr, sizeof(addr));
	printk("Disconnected from: %s (reason 0x%02x)\n", addr, reason);

	ble_connected = false;
	led_status = 4;
	// start_adv = 1;
	k_msleep(1000);
	if (default_conn)
	{
		led_status = 1;
		bt_conn_unref(default_conn);
		default_conn = NULL;
	}
}

int8_t ble_init(void)
{
	int err = bt_enable(NULL);
	if (err)
	{
		printk("Bluetooth init failed (err %d)\n", err);
		return err;
	}

	printk("Bluetooth initialized\n");
	bt_conn_cb_register(&conn_callbacks);
	return 0;
}

int8_t ble_deinit(void)
{
	int err;

	if (default_conn)
	{
		err = bt_conn_disconnect(default_conn, BT_HCI_ERR_REMOTE_USER_TERM_CONN);
		if (err)
		{
			printk("Disconnection failed (err %d)\n", err);
			return err;
		}
		bt_conn_unref(default_conn);
		default_conn = NULL;
		printk("Disconnection initiated\n");
	}

	err = bt_disable();
	if (err)
	{
		printk("Bluetooth disable failed (err %d)\n", err);
		return err;
	}

	printk("Bluetooth disabled\n");
	led_status = 0;
	return 0;
}

int8_t start_advertising(void)
{
	int err;

	struct bt_le_adv_param *adv_params =
		BT_LE_ADV_PARAM(BT_LE_ADV_OPT_CONNECTABLE | BT_LE_ADV_OPT_USE_NAME,
						BT_GAP_ADV_FAST_INT_MIN_2,
						BT_GAP_ADV_FAST_INT_MAX_2,
						NULL);

	const struct bt_data ad[] = {
		BT_DATA_BYTES(BT_DATA_FLAGS, (BT_LE_AD_GENERAL | BT_LE_AD_NO_BREDR)),
		BT_DATA_BYTES(BT_DATA_UUID128_ALL, BT_UUID_CUSTOM_SERVICE_VAL),
	};

	err = bt_le_adv_start(adv_params, ad, ARRAY_SIZE(ad), NULL, 0);
	if (err)
	{
		printk("Advertising failed to start (err %d)\n", err);
		return err;
	}

	printk("Advertising successfully started\n");
	led_status = 1;
	return 0;
}

int8_t stop_advertising(void)
{
	int err = bt_le_adv_stop();
	if (err)
	{
		printk("Failed to stop advertising (err %d)\n", err);
		return err;
	}

	printk("Advertising successfully stopped\n");
	led_status = 0;
	return 0;
}

int8_t disconnect(void)
{
	int err;
	if (default_conn)
	{
		err = bt_conn_disconnect(default_conn, BT_HCI_ERR_REMOTE_USER_TERM_CONN);
		if (err)
		{
			printk("Disconnection failed (err %d)\n", err);
			return err;
		}
		bt_conn_unref(default_conn);
		default_conn = NULL;
		printk("Disconnection initiated\n");
	}
	else
	{
		printk("No active connection to disconnect\n");
	}

	led_status = 0;
	return 0;
}
```

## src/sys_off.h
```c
#include <inttypes.h>
#include <stdio.h>
#include <zephyr/device.h>
#include <zephyr/drivers/gpio.h>
#include <zephyr/drivers/hwinfo.h>
#include <zephyr/kernel.h>
#include <zephyr/pm/device.h>
#include <zephyr/sys/poweroff.h>
#include <zephyr/sys/util.h>


// static const struct gpio_dt_spec sw0 = GPIO_DT_SPEC_GET(DT_ALIAS(sw0), gpios);


void print_reset_cause(uint32_t reset_cause)
{
	if (reset_cause & RESET_DEBUG) {
		printf("Reset by debugger.\n");
	} else if (reset_cause & RESET_CLOCK) {
		printf("Wakeup from System OFF by GRTC.\n");
	} else if (reset_cause & RESET_LOW_POWER_WAKE) {
		printf("Wakeup from System OFF by GPIO.\n");
	} else  {
		printf("Other wake up cause 0x%08X.\n", reset_cause);
	}
}

int sys_off (void)
{
	int rc;
	uint32_t reset_cause;
	const struct device *const cons = DEVICE_DT_GET(DT_CHOSEN(zephyr_console));

	if (!device_is_ready(cons)) {
		printf("%s: device not ready.\n", cons->name);
		return 0;
	}

	hwinfo_get_reset_cause(&reset_cause);
	print_reset_cause(reset_cause);

	// Override sw0 or button0 in the dts to use the UART TX pin
	// of the frizbee schematic (P1.04)


	// Configure the GPIO pin to receive an interrupt
	rc = gpio_pin_configure_dt(&sw0, GPIO_INPUT);
	if (rc < 0) {
		printf("Could not configure sw0 GPIO (%d)\n", rc);
		return 0;
	}

	rc = gpio_pin_interrupt_configure_dt(&sw0, GPIO_INT_LEVEL_ACTIVE);
	if (rc < 0) {
		printf("Could not configure sw0 GPIO interrupt (%d)\n", rc);
		return 0;
	}

	// Prompt user
	printf("Entering system off; press sw0 to restart\n");

	rc = pm_device_action_run(cons, PM_DEVICE_ACTION_SUSPEND);
	if (rc < 0) {
		printf("Could not suspend console (%d)\n", rc);
		return 0;
	}

	hwinfo_clear_reset_cause();
	sys_poweroff();
	// The code section will never reach here as the system reboots as the GPIO comes

	return 0;
}
```

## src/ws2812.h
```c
#include <zephyr/kernel.h>
#include <zephyr/device.h>
#include <zephyr/drivers/spi.h>
#include <zephyr/drivers/gpio.h>

#define LED_COUNT 8

#define SPI_FREQ 4000000  // 4MHz
#define WS2812_0_CODE 0x8 // Binary: 1000 (T0H=0.25us, T0L=0.75us at 4MHz)
#define WS2812_1_CODE 0xE // Binary: 1100 (T1H=0.75us, T1L=0.25us at 4MHz)

struct rgb_color
{
    uint8_t red;
    uint8_t green;
    uint8_t blue;
};

static struct rgb_color leds[LED_COUNT];
static uint8_t spi_buffer[LED_COUNT * 24 + 50]; // Extra bytes for reset

// SPI device and configuration
const struct device *spi_dev;
struct spi_config spi_cfg = {
    .frequency = SPI_FREQ,
    .operation = SPI_WORD_SET(8) | SPI_TRANSFER_MSB | SPI_MODE_CPOL | SPI_MODE_CPHA,
    .slave = 0,
    .cs = NULL,
};

void set_pixel_color(int pixel, uint8_t red, uint8_t green, uint8_t blue)
{
    if (pixel < LED_COUNT && pixel >= 0)
    {
        leds[pixel].red = red;
        leds[pixel].green = green;
        leds[pixel].blue = blue;
    }
}

void clear_all_leds(void)
{
    for (int i = 0; i < LED_COUNT; i++)
    {
        leds[i].red = 0;
        leds[i].green = 0;
        leds[i].blue = 0;
    }
}

void send_to_strip(void)
{
    int buf_idx = 0;

    // Add reset pulse at beginning (low for >50us)//20
    for (int i = 0; i < 50; i++)
    {
        spi_buffer[buf_idx++] = 0x00;
    }

    // Convert LED data to SPI format`
    for (int led = 0; led < LED_COUNT; led++)
    {
        // WS2812B expects GRB order, not RGB
        uint8_t colors[3] = {leds[led].green, leds[led].red, leds[led].blue};

        for (int color_byte = 0; color_byte < 3; color_byte++)
        {
            uint8_t byte = colors[color_byte];

            // Convert each bit to SPI timing
            for (int bit = 7; bit >= 0; bit--)
            {
                if (byte & (1 << bit))
                {
                    spi_buffer[buf_idx++] = WS2812_1_CODE; // High bit
                }
                else
                {
                    spi_buffer[buf_idx++] = WS2812_0_CODE; // Low bit
                }
            }
        }
    }

    // Add reset pulse at end
    for (int i = 0; i < 30; i++)
    {
        spi_buffer[buf_idx++] = 0x00;
    }

    // Send via SPI
    struct spi_buf tx_buf = {
        .buf = spi_buffer,
        .len = buf_idx};
    struct spi_buf_set tx_bufs = {
        .buffers = &tx_buf,
        .count = 1};

    int ret = spi_write(spi_dev, &spi_cfg, &tx_bufs);
    if (ret < 0)
    {
        printf("SPI write failed: %d", ret);
    }

    // Wait for reset (>300us for WS2812B)
    k_usleep(500);
}

int8_t ws2812_init(void)
{
    // // Initialize GPIO for boost converter
    // if (!device_is_ready(led.port)) {
    //     return -1;
    // }
    // gpio_pin_configure(led.port, led.pin, GPIO_OUTPUT_ACTIVE | led.dt_flags);
    // gpio_pin_set(led.port, led.pin, 1); // Turn on LED to indicate startup

    // Initialize SPI device
    spi_dev = DEVICE_DT_GET(DT_NODELABEL(spi00));
    if (!device_is_ready(spi_dev))
    {
        printk("SPI device not ready!");
        return -1;
    }
    else
    {
        printk("spiDev is ready");
    }

    clear_all_leds();
    send_to_strip();
    k_sleep(K_MSEC(100));
    return 0;
}

void ws2812_deinit(void)
{
    clear_all_leds();
    send_to_strip();
    // gpio_pin_set(led.port, led.pin, 0); // Turn off boost converter
}

int8_t ws2812_set_color(int pixel, uint8_t red, uint8_t green, uint8_t blue)
{
    if (pixel < 0 || pixel >= LED_COUNT)
    {
        return -1;
    }
    set_pixel_color(pixel, red, green, blue);
    send_to_strip();
    return 0;
}

int8_t ws2812_set_colors(uint8_t red, uint8_t green, uint8_t blue)
{
    for (int i = 0; i < LED_COUNT; i++)
    {
        set_pixel_color(i, red, green, blue);
    }
    send_to_strip();
    return 0;
}
```
